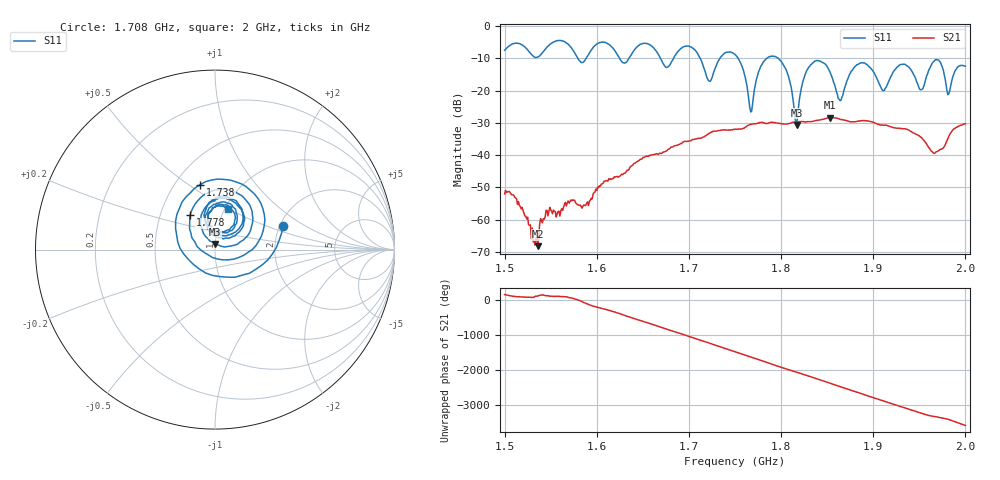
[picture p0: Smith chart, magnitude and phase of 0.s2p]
! NanoVNA-App by SYSJOINT et al v1.1.209 (+OD18)
! Date: 2026-01-21 14:30:28
! Start: 1,5GHz Stop: 2GHz Points: 501
! S-Parameter data: F S11 S21 S12 S22
# Hz S RI R 50
!  Frequency  S11_Real  S11_Imag  S21_Real  S21_Imag  S12_Real  S12_Imag  S22_Real  S22_Imag
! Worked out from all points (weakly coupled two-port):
!   501 points, 1.5 GHz to 2 GHz, reference 50 ohm
!   highest |S21| = -28.41 dB at 1.853 GHz (marker M1); lowest = -68.2 dB at 1.536 GHz (marker M2)
!   lowest |S11| = -30.6 dB at 1.817 GHz (marker M3), VSWR 1.06, Z = 50 + j2.94 ohm
!   |S11| at or under -10 dB: 1.712 GHz to 1.734 GHz (21.45 MHz wide, 1.24 % of centre); 1.753 GHz to 1.785 GHz (31.28 MHz wide, 1.77 % of centre); 1.797 GHz to end of sweep (the widest 3 of 6)
!   S12 and S22 are empty: the file has one direction only
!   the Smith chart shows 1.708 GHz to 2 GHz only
!   S11 on the Smith chart (normalised r, x): 1.708 GHz: 2.07, +0.66; 1.738 GHz: 0.66, +0.55; 1.778 GHz: 0.71, +0.29; 2 GHz: 1.03, +0.50
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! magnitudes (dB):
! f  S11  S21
! 1.5 GHz  -7.5  -52.1
! 1.536 GHz  -9.6  -68.2
! 1.584 GHz  -11.3  -56.4
! 1.667 GHz  -8.9  -39.7
! 1.708 GHz  -7.9  -35.0
! 1.722 GHz  -17.1  -33.3
! 1.738 GHz  -8.6  -32.2
! 1.75 GHz  -8.8  -32.0
! 1.767 GHz  -26.7  -30.4
! 1.778 GHz  -12.5  -29.9
! 1.801 GHz  -11.3  -30.3
! 1.817 GHz  -30.6  -29.7
! 1.834 GHz  -11.5  -29.6
! 1.853 GHz  -14.2  -28.4
! 1.864 GHz  -23.1  -28.9
! 1.886 GHz  -11.5  -29.3
! 1.917 GHz  -17.0  -31.0
! 1.934 GHz  -11.9  -31.8
! 1.952 GHz  -19.7  -34.5
! 1.967 GHz  -10.6  -39.4
! 1.982 GHz  -21.0  -34.2
! 2 GHz  -12.4  -30.3
